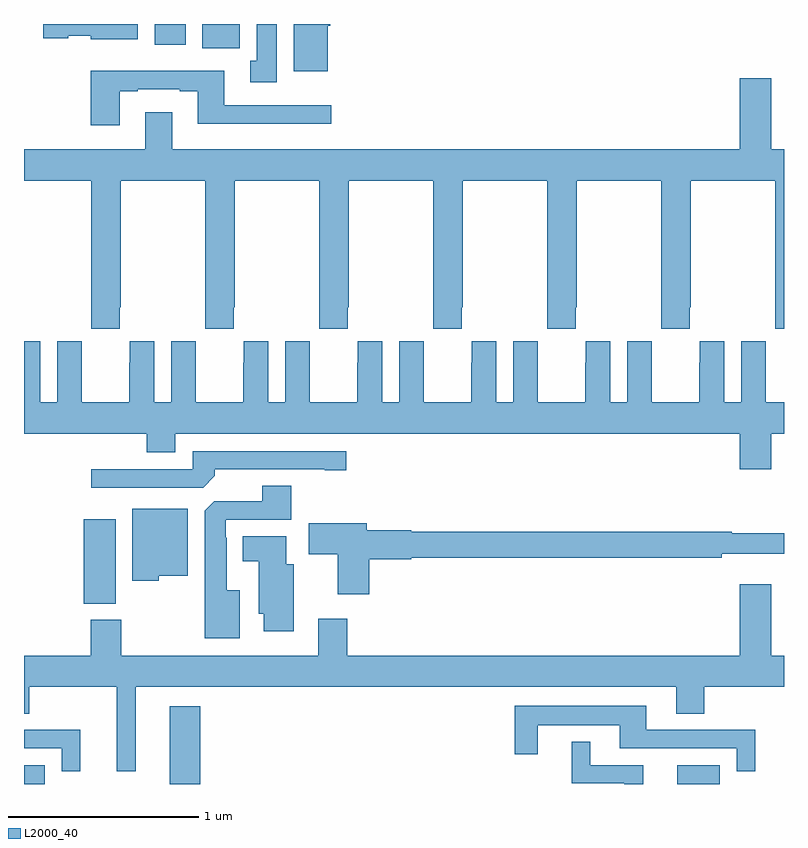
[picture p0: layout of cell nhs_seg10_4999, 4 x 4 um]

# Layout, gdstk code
import gdstk
lib = gdstk.Library(unit=1e-6, precision=1e-09)
def R(c, l, rs):  # rectangles x0, y0, x1, y1
    for r in rs: c.add(gdstk.rectangle(r[:2], r[2:], *l))
def P(c, l, *ps):  # polygons
    for p in ps: c.add(gdstk.Polygon(p, *l))
L2000_40 = (2000, 40)

nhs_seg10_4999 = lib.new_cell('nhs_seg10_4999')
R(nhs_seg10_4999, L2000_40, [(401,1270.5,401.11,1270.6), (401.768,1270.5,401.927,1270.909), (404.438,1270.5,404.662,1270.6), (401.315,1271.449,401.482,1271.893), (401.939,1274.372,402.136,1274.5), (401.687,1274.39,401.851,1274.5)])
P(nhs_seg10_4999, L2000_40, [(401.599,1274.5),(401.1,1274.5),(401.1,1274.426),(401.232,1274.426),(401.232,1274.438),(401.352,1274.438),(401.352,1274.42),(401.599,1274.42)],
  [(402.598,1274.492),(402.611,1274.492),(402.611,1274.5),(402.419,1274.5),(402.419,1274.252),(402.598,1274.252)],
  [(402.331,1274.5),(402.224,1274.5),(402.224,1274.306),(402.191,1274.306),(402.191,1274.193),(402.331,1274.193)],
  [(401.503,1274.145),(401.599,1274.145),(401.599,1274.157),(401.819,1274.157),(401.819,1274.145),(401.915,1274.145),(401.915,1273.976),(402.616,1273.976),(402.616,1274.073),(402.055,1274.073),(402.055,1274.254),(401.351,1274.254),(401.351,1273.968),(401.503,1273.968)],
  [(401.505,1273.009),(401.508,1273.009),(401.508,1273.676),(401.953,1273.676),(401.953,1273.009),(401.955,1273.009),(401.955,1272.897),(402.105,1272.897),(402.105,1273.009),(402.108,1273.009),(402.108,1273.676),(402.553,1273.676),(402.553,1273.009),(402.555,1273.009),(402.555,1272.897),(402.705,1272.897),(402.705,1273.009),(402.708,1273.009),(402.708,1273.676),(403.153,1273.676),(403.153,1273.009),(403.155,1273.009),(403.155,1272.897),(403.305,1272.897),(403.305,1273.009),(403.308,1273.009),(403.308,1273.676),(403.753,1273.676),(403.753,1273.009),(403.755,1273.009),(403.755,1272.897),(403.905,1272.897),(403.905,1273.009),(403.908,1273.009),(403.908,1273.676),(404.353,1273.676),(404.353,1273.009),(404.355,1273.009),(404.355,1272.897),(404.505,1272.897),(404.505,1273.009),(404.508,1273.009),(404.508,1273.676),(404.953,1273.676),(404.953,1273.009),(404.955,1273.009),(404.955,1272.897),(405,1272.897),(405,1273.84),(404.932,1273.84),(404.932,1274.215),(404.768,1274.215),(404.768,1273.84),(401.779,1273.84),(401.779,1274.035),(401.639,1274.035),(401.639,1273.84),(401,1273.84),(401,1273.676),(401.353,1273.676),(401.353,1273.009),(401.355,1273.009),(401.355,1272.897),(401.505,1272.897)],
  [(404.768,1272.156),(404.932,1272.156),(404.932,1272.344),(405,1272.344),(405,1272.508),(404.905,1272.508),(404.905,1272.716),(404.904,1272.716),(404.904,1272.829),(404.774,1272.829),(404.774,1272.508),(404.686,1272.508),(404.686,1272.829),(404.556,1272.829),(404.556,1272.716),(404.555,1272.716),(404.555,1272.508),(404.305,1272.508),(404.305,1272.716),(404.304,1272.716),(404.304,1272.829),(404.174,1272.829),(404.174,1272.508),(404.086,1272.508),(404.086,1272.829),(403.956,1272.829),(403.956,1272.716),(403.955,1272.716),(403.955,1272.508),(403.705,1272.508),(403.705,1272.716),(403.704,1272.716),(403.704,1272.829),(403.574,1272.829),(403.574,1272.508),(403.486,1272.508),(403.486,1272.829),(403.356,1272.829),(403.356,1272.716),(403.355,1272.716),(403.355,1272.508),(403.105,1272.508),(403.105,1272.716),(403.104,1272.716),(403.104,1272.829),(402.974,1272.829),(402.974,1272.508),(402.886,1272.508),(402.886,1272.829),(402.756,1272.829),(402.756,1272.716),(402.755,1272.716),(402.755,1272.508),(402.505,1272.508),(402.505,1272.716),(402.504,1272.716),(402.504,1272.829),(402.374,1272.829),(402.374,1272.508),(402.286,1272.508),(402.286,1272.829),(402.156,1272.829),(402.156,1272.716),(402.155,1272.716),(402.155,1272.508),(401.905,1272.508),(401.905,1272.716),(401.904,1272.716),(401.904,1272.829),(401.774,1272.829),(401.774,1272.508),(401.686,1272.508),(401.686,1272.829),(401.556,1272.829),(401.556,1272.716),(401.555,1272.716),(401.555,1272.508),(401.305,1272.508),(401.305,1272.716),(401.304,1272.716),(401.304,1272.829),(401.174,1272.829),(401.174,1272.508),(401.086,1272.508),(401.086,1272.829),(401,1272.829),(401,1272.344),(401.645,1272.344),(401.645,1272.245),(401.797,1272.245),(401.797,1272.344),(404.768,1272.344)],
  [(402.005,1272.122),(402.005,1272.156),(402.584,1272.156),(402.584,1272.151),(402.697,1272.151),(402.697,1272.252),(401.889,1272.252),(401.889,1272.156),(401.355,1272.156),(401.355,1272.06),(401.943,1272.06)],
  [(402.136,1271.521),(402.067,1271.521),(402.067,1271.795),(402.063,1271.795),(402.063,1271.892),(402.407,1271.892),(402.407,1272.071),(402.254,1272.071),(402.254,1271.988),(402,1271.988),(401.951,1271.939),(401.951,1271.267),(402.136,1271.267)],
  [(401.709,1271.597),(401.863,1271.597),(401.863,1271.95),(401.57,1271.95),(401.57,1271.57),(401.709,1271.57)],
  [(402.818,1271.684),(403.038,1271.684),(403.038,1271.692),(404.672,1271.692),(404.672,1271.711),(405,1271.711),(405,1271.821),(404.726,1271.821),(404.726,1271.828),(403.038,1271.828),(403.038,1271.836),(402.805,1271.836),(402.805,1271.872),(402.498,1271.872),(402.498,1271.71),(402.65,1271.71),(402.65,1271.499),(402.818,1271.499)],
  [(402.421,1271.656),(402.379,1271.656),(402.379,1271.803),(402.152,1271.803),(402.152,1271.672),(402.236,1271.672),(402.236,1271.397),(402.263,1271.397),(402.263,1271.304),(402.421,1271.304)],
  [(401.588,1271.012),(404.432,1271.012),(404.432,1270.87),(404.58,1270.87),(404.58,1271.012),(405,1271.012),(405,1271.176),(404.932,1271.176),(404.932,1271.551),(404.768,1271.551),(404.768,1271.176),(402.701,1271.176),(402.701,1271.371),(402.548,1271.371),(402.548,1271.176),(401.511,1271.176),(401.511,1271.364),(401.351,1271.364),(401.351,1271.176),(401,1271.176),(401,1270.87),(401.028,1270.87),(401.028,1271.012),(401.489,1271.012),(401.489,1270.566),(401.588,1270.566)],
  [(404.849,1270.785),(404.275,1270.785),(404.275,1270.912),(403.584,1270.912),(403.584,1270.656),(403.705,1270.656),(403.705,1270.808),(404.135,1270.808),(404.135,1270.689),(404.751,1270.689),(404.751,1270.566),(404.849,1270.566)],
  [(401.297,1270.785),(401,1270.785),(401,1270.689),(401.199,1270.689),(401.199,1270.566),(401.297,1270.566)],
  [(404.258,1270.599),(403.981,1270.599),(403.981,1270.723),(403.883,1270.723),(403.883,1270.503),(404.16,1270.503),(404.16,1270.5),(404.258,1270.5)])

lib.write_gds('nhs_seg10_4999.gds')
